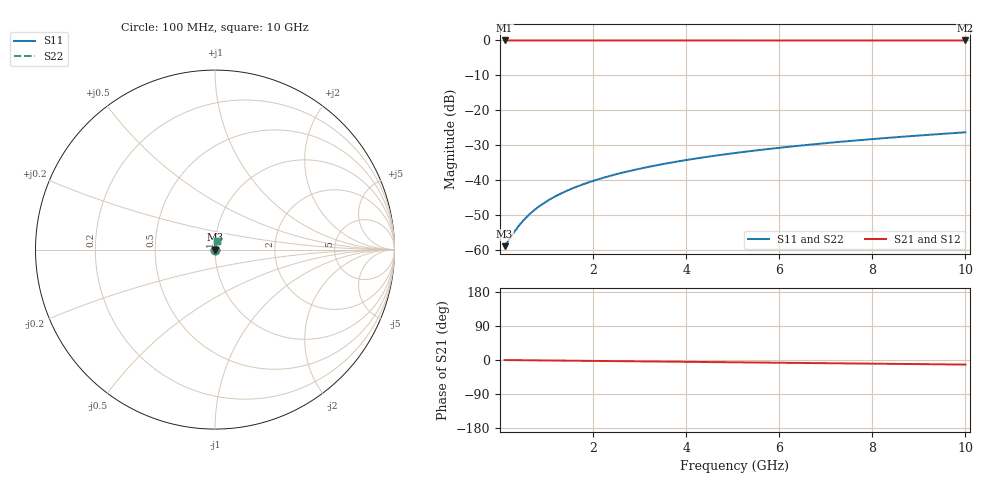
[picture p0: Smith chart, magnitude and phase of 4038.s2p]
# Hz S RI R 50.00
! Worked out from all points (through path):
!   100 points, 100 MHz to 10 GHz, reference 50 ohm
!   highest |S21| = -0.01 dB at 100 MHz (marker M1); lowest = 0.0 dB at 10 GHz (marker M2)
!   group delay of S21, straight-line fit = 3.35 ps
!   lowest |S11| = -58.9 dB at 100 MHz (marker M3), VSWR 1.00, Z = 50.1 + j0.0483 ohm
!   |S11| at or under -10 dB: start of sweep to end of sweep
!   |S22| runs from -58.9 to -26.3 dB; largest |S21 - S12| = 0
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1e8  0.00103 0.000482  0.999 -0.00209  0.999 -0.00209  0.00103 0.000482
3e8  0.00104 0.00145  0.9989 -0.00627  0.9989 -0.00627  0.00104 0.00145
4e8  0.00105 0.00193  0.9989 -0.00836  0.9989 -0.00836  0.00105 0.00193
5e8  0.00107 0.00241  0.9989 -0.0104  0.9989 -0.0104  0.00107 0.00241
6e8  0.00108 0.00289  0.9989 -0.0125  0.9989 -0.0125  0.00108 0.00289
7e8  0.0011 0.00337  0.9988 -0.0146  0.9988 -0.0146  0.0011 0.00337
8e8  0.00111 0.00385  0.9988 -0.0167  0.9988 -0.0167  0.00111 0.00385
1e9  0.00115 0.00482  0.9987 -0.0209  0.9987 -0.0209  0.00115 0.00482
1.2e9  0.0012 0.00578  0.9986 -0.0251  0.9986 -0.0251  0.0012 0.00578
1.5e9  0.00128 0.00722  0.9984 -0.0313  0.9984 -0.0313  0.00128 0.00722
1.8e9  0.00139 0.00866  0.9982 -0.0376  0.9982 -0.0376  0.00139 0.00866
2.1e9  0.00151 0.0101  0.9979 -0.0439  0.9979 -0.0439  0.00151 0.0101
2.5e9  0.0017 0.012  0.9975 -0.0522  0.9975 -0.0522  0.0017 0.012
2.9e9  0.00192 0.0139  0.9969 -0.0606  0.9969 -0.0606  0.00192 0.0139
3.4e9  0.00224 0.0163  0.9962 -0.0711  0.9962 -0.0711  0.00224 0.0163
4.2e9  0.00285 0.0201  0.9948 -0.0878  0.9948 -0.0878  0.00285 0.0201
5.1e9  0.0037 0.0244  0.9928 -0.1066  0.9928 -0.1066  0.0037 0.0244
5.9e9  0.00459 0.0282  0.9908 -0.1233  0.9908 -0.1233  0.00459 0.0282
6.7e9  0.00561 0.0319  0.9884 -0.14  0.9884 -0.14  0.00561 0.0319
7.5e9  0.00675 0.0356  0.9858 -0.1567  0.9858 -0.1567  0.00675 0.0356
8.4e9  0.0082 0.0398  0.9824 -0.1754  0.9824 -0.1754  0.0082 0.0398
1e10  0.0112 0.047  0.9755 -0.2086  0.9755 -0.2086  0.0112 0.047
